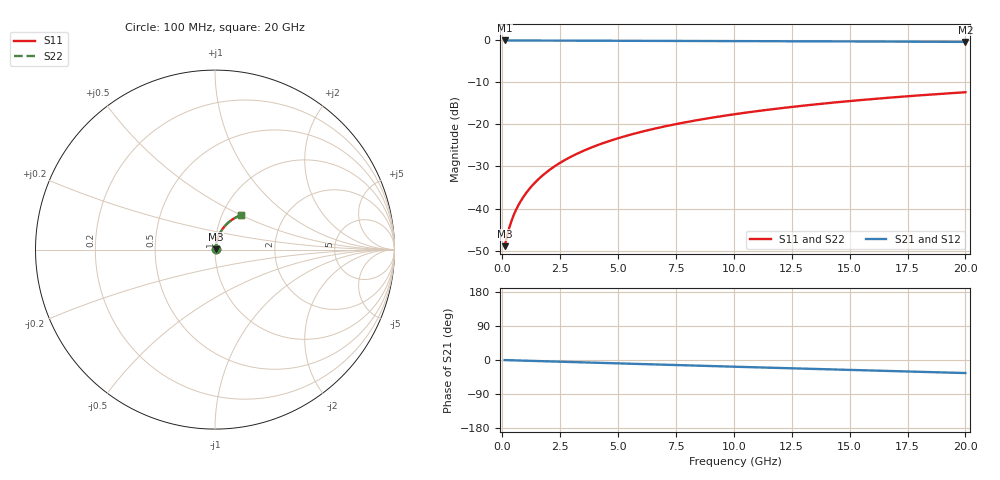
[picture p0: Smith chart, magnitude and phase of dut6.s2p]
! Touchstone file exported from HFSS 2026.1.0
!  File:  C:/ffzhzh/LocalFiles/Ansys_Project_Files/temp_test_BSMRDL_6_1782907262_42304.aedt
!  Generated:  08:02:15 PM Jul  1, 2026
!  Design:  BSMRDL
!  Project:  temp_test_BSMRDL_6_1782907262_42304
! Variables:
!  h_bsmrdl = 3.17um
!  h_ox = 20um
!  h_rdl = 5um
!  h_sub = 80um
!  h_tmrdl = 5um
!  h_tsv = 80um
!  h_via = 3um
!  l_bsmrdl = 545.61um
!  l_sub = 945.61um
!  l_tmrdl = 200um
!  m_sub = 200um
!  pitch = 34.33um
!  r_tsv = 6um
!  s_tmrdl = 10um
!  w_bsmrdl = 20.72um
!  w_sub = 500um
!  w_tmrdl = 12um
!  x_tsv_center1 = 206um
!  x_tsv_center2 = 772.33um
!  x_tsv_center3 = 984.33um
!  x_tsv_center4 = 1550.66um
!  x_tsv_center5 = 1762.66um
!  x_tsv_center6 = 2328.99um
# GHz S MA R 50.000000
! Terminal data exported
! Port[1] = BSM_RDL1_1_T1
! Port[2] = BSM_RDL1_1_T2
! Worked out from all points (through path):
!   200 points, 100 MHz to 20 GHz, reference 50 ohm
!   highest |S21| = -0.03 dB at 100 MHz (marker M1); lowest = -0.4 dB at 20 GHz (marker M2)
!   group delay of S21, straight-line fit = 4.78 ps
!   lowest |S11| = -49.0 dB at 100 MHz (marker M3), VSWR 1.01, Z = 50.3 + j0.166 ohm
!   |S11| at or under -10 dB: start of sweep to end of sweep
!   |S22| runs from -49.0 to -12.3 dB; largest |S21 - S12| = 3.9e-15
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0.1  0.003569 27.5  0.9968 -0.2  0.9968 -0.2  0.003569 27.5
! Gamma 0 0 0 0
! Port Impedance 50 0 50 0
0.3  0.005891 53.0  0.9965 -0.6  0.9965 -0.6  0.005891 53.0
0.4  0.007173 58.4  0.9963 -0.8  0.9963 -0.8  0.007173 58.4
0.5  0.008452 62.2  0.9962 -0.9  0.9962 -0.9  0.008453 62.2
0.6  0.009731 65.1  0.996 -1.1  0.996 -1.1  0.009731 65.1
0.8  0.0123 69.1  0.9958 -1.5  0.9958 -1.5  0.0123 69.1
1  0.0149 71.8  0.9957 -1.8  0.9957 -1.8  0.01491 71.8
1.2  0.01754 73.7  0.9956 -2.2  0.9956 -2.2  0.01754 73.7
1.4  0.0202 75.0  0.9955 -2.5  0.9955 -2.5  0.0202 75.0
1.7  0.02422 76.3  0.9953 -3.1  0.9953 -3.1  0.02422 76.3
2.2  0.03096 77.5  0.9949 -4.0  0.9949 -4.0  0.03096 77.5
2.8  0.03907 77.9  0.9944 -5.0  0.9944 -5.0  0.03907 77.9
3.5  0.04851 77.7  0.9937 -6.3  0.9937 -6.3  0.04851 77.7
4.2  0.05789 77.1  0.9929 -7.5  0.9929 -7.5  0.05789 77.1
5  0.06852 76.2  0.9918 -9.0  0.9918 -9.0  0.06852 76.1
5.9  0.08032 75.0  0.9905 -10.5  0.9905 -10.5  0.08032 74.9
6.8  0.09196 73.6  0.989 -12.1  0.989 -12.1  0.09196 73.6
8.3  0.111 71.3  0.9862 -14.7  0.9862 -14.7  0.111 71.3
10.1  0.1331 68.5  0.9825 -17.9  0.9825 -17.9  0.1331 68.4
13.4  0.1718 63.2  0.9751 -23.5  0.9751 -23.5  0.1718 63.2
16.7  0.208 58.0  0.9669 -29.0  0.9669 -29.0  0.208 57.9
20  0.2415 52.8  0.9583 -34.4  0.9583 -34.4  0.2415 52.7
